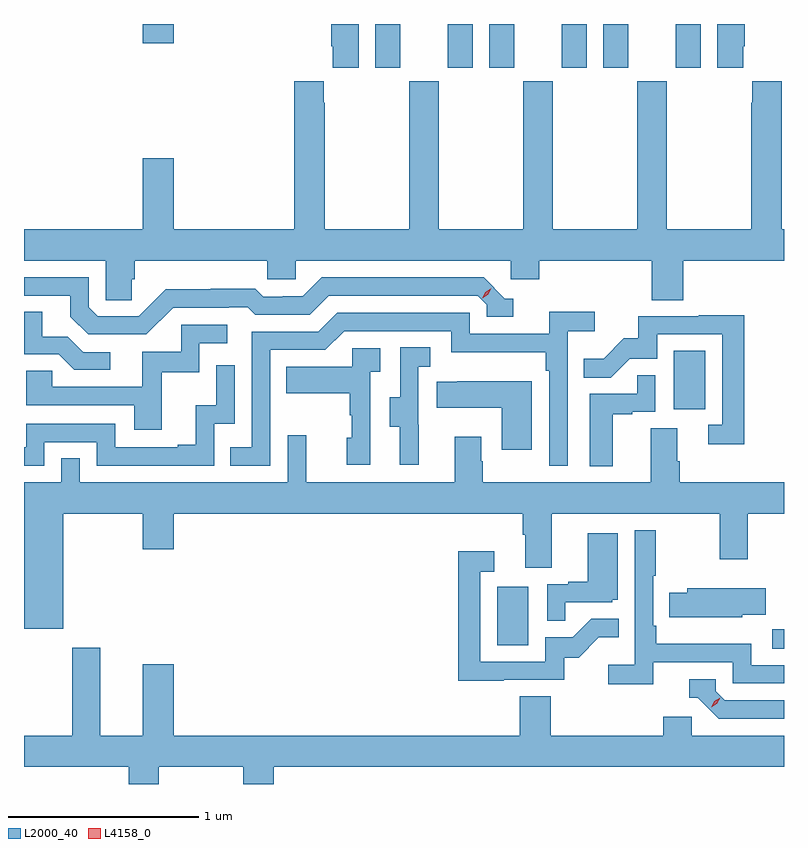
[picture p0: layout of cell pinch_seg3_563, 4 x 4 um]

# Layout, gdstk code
import gdstk
lib = gdstk.Library(unit=1e-6, precision=1e-09)
def R(c, l, rs):  # rectangles x0, y0, x1, y1
    for r in rs: c.add(gdstk.rectangle(r[:2], r[2:], *l))
def P(c, l, *ps):  # polygons
    for p in ps: c.add(gdstk.Polygon(p, *l))
L2000_40 = (2000, 40)
L4158_0 = (4158, 0)

pinch_seg3_563 = lib.new_cell('pinch_seg3_563')
R(pinch_seg3_563, L2000_40, [(1103.385,685.552,1103.447,685.655), (1101.938,685.572,1102.102,685.879), (1102.868,686.814,1103.032,687.121), (1101.296,688.611,1101.427,688.841), (1101.677,688.611,1101.808,688.841), (1101.896,688.611,1102.027,688.841), (1102.277,688.611,1102.408,688.841), (1102.496,688.611,1102.627,688.841), (1102.877,688.611,1103.008,688.841), (1100.072,688.74,1100.236,688.841)])
P(pinch_seg3_563, L2000_40, [(1103.233,688.723),(1103.24,688.723),(1103.24,688.841),(1103.096,688.841),(1103.096,688.611),(1103.233,688.611)],
  [(1101.208,688.841),(1101.065,688.841),(1101.065,688.723),(1101.071,688.723),(1101.071,688.611),(1101.208,688.611)],
  [(1100.015,687.498),(1100.03,687.498),(1100.03,687.596),(1100.727,687.596),(1100.727,687.498),(1100.877,687.498),(1100.877,687.596),(1102.008,687.596),(1102.008,687.498),(1102.16,687.498),(1102.16,687.596),(1102.751,687.596),(1102.751,687.388),(1102.916,687.388),(1102.916,687.596),(1103.447,687.596),(1103.447,687.76),(1103.435,687.76),(1103.435,688.54),(1103.279,688.54),(1103.279,688.427),(1103.275,688.427),(1103.275,687.76),(1102.83,687.76),(1102.83,688.54),(1102.675,688.54),(1102.675,687.76),(1102.23,687.76),(1102.23,688.54),(1102.075,688.54),(1102.075,687.76),(1101.63,687.76),(1101.63,688.54),(1101.475,688.54),(1101.475,687.76),(1101.03,687.76),(1101.03,688.427),(1101.025,688.427),(1101.025,688.54),(1100.87,688.54),(1100.87,687.76),(1100.236,687.76),(1100.236,688.135),(1100.072,688.135),(1100.072,687.76),(1099.447,687.76),(1099.447,687.596),(1099.878,687.596),(1099.878,687.388),(1100.015,687.388)],
  [(1100.232,687.348),(1100.525,687.348),(1100.525,687.351),(1100.624,687.351),(1100.663,687.312),(1100.952,687.312),(1101.051,687.411),(1101.834,687.411),(1101.882,687.363),(1101.882,687.3),(1102.021,687.3),(1102.021,687.396),(1101.978,687.396),(1101.867,687.507),(1101.014,687.507),(1100.915,687.408),(1100.808,687.408),(1100.808,687.405),(1100.705,687.405),(1100.663,687.448),(1100.43,687.448),(1100.43,687.445),(1100.194,687.445),(1100.052,687.303),(1099.836,687.303),(1099.788,687.351),(1099.788,687.507),(1099.447,687.507),(1099.447,687.411),(1099.691,687.411),(1099.691,687.301),(1099.785,687.207),(1100.091,687.207)],
  [(1100.742,687.126),(1101.033,687.126),(1101.132,687.225),(1101.696,687.225),(1101.696,687.113),(1102.192,687.113),(1102.192,687.017),(1102.212,687.017),(1102.212,686.517),(1102.308,686.517),(1102.308,687.224),(1102.45,687.224),(1102.45,687.326),(1102.211,687.326),(1102.211,687.21),(1101.792,687.21),(1101.792,687.321),(1101.095,687.321),(1100.996,687.222),(1100.646,687.222),(1100.646,686.613),(1100.533,686.613),(1100.533,686.517),(1100.742,686.517)],
  [(1099.9,687.114),(1099.758,687.114),(1099.678,687.194),(1099.543,687.194),(1099.543,687.326),(1099.447,687.326),(1099.447,687.102),(1099.631,687.102),(1099.712,687.021),(1099.9,687.021)],
  [(1103.237,687.308),(1102.999,687.308),(1102.999,687.303),(1102.681,687.303),(1102.681,687.186),(1102.604,687.186),(1102.497,687.079),(1102.393,687.079),(1102.393,686.98),(1102.536,686.98),(1102.634,687.078),(1102.779,687.078),(1102.779,687.207),(1103.121,687.207),(1103.121,686.733),(1103.049,686.733),(1103.049,686.628),(1103.237,686.628)],
  [(1100.171,687.009),(1100.37,687.009),(1100.37,687.162),(1100.518,687.162),(1100.518,687.258),(1100.274,687.258),(1100.274,687.117),(1100.069,687.117),(1100.069,686.931),(1099.595,686.931),(1099.595,687.015),(1099.458,687.015),(1099.458,686.835),(1100.027,686.835),(1100.027,686.706),(1100.171,686.706)],
  [(1101.524,686.733),(1101.522,686.733),(1101.522,687.037),(1101.586,687.037),(1101.586,687.14),(1101.426,687.14),(1101.426,686.877),(1101.371,686.877),(1101.371,686.722),(1101.425,686.722),(1101.425,686.52),(1101.524,686.52)],
  [(1101.27,687.011),(1101.322,687.011),(1101.322,687.135),(1101.174,687.135),(1101.174,687.037),(1100.827,687.037),(1100.827,686.897),(1101.162,686.897),(1101.162,686.783),(1101.172,686.783),(1101.172,686.664),(1101.146,686.664),(1101.146,686.52),(1101.27,686.52)],
  [(1099.554,686.64),(1099.83,686.64),(1099.83,686.517),(1100.448,686.517),(1100.448,686.736),(1100.556,686.736),(1100.556,687.046),(1100.46,687.046),(1100.46,686.834),(1100.351,686.834),(1100.351,686.626),(1100.255,686.626),(1100.255,686.613),(1099.926,686.613),(1099.926,686.736),(1099.458,686.736),(1099.458,686.613),(1099.447,686.613),(1099.447,686.517),(1099.554,686.517)],
  [(1102.546,686.787),(1102.649,686.787),(1102.649,686.799),(1102.77,686.799),(1102.77,686.993),(1102.675,686.993),(1102.675,686.895),(1102.424,686.895),(1102.424,686.513),(1102.546,686.513)],
  [(1102.12,686.962),(1101.727,686.962),(1101.727,686.959),(1101.619,686.959),(1101.619,686.822),(1101.962,686.822),(1101.962,686.601),(1102.12,686.601)],
  [(1099.654,686.264),(1100.072,686.264),(1100.072,686.076),(1100.236,686.076),(1100.236,686.264),(1102.073,686.264),(1102.073,686.152),(1102.085,686.152),(1102.085,685.978),(1102.225,685.978),(1102.225,686.264),(1103.11,686.264),(1103.11,686.025),(1103.257,686.025),(1103.257,686.264),(1103.447,686.264),(1103.447,686.428),(1102.898,686.428),(1102.898,686.54),(1102.885,686.54),(1102.885,686.714),(1102.745,686.714),(1102.745,686.428),(1101.861,686.428),(1101.861,686.54),(1101.853,686.54),(1101.853,686.668),(1101.713,686.668),(1101.713,686.428),(1100.933,686.428),(1100.933,686.677),(1100.835,686.677),(1100.835,686.428),(1099.74,686.428),(1099.74,686.555),(1099.644,686.555),(1099.644,686.428),(1099.447,686.428),(1099.447,685.658),(1099.654,685.658)],
  [(1102.76,685.482),(1103.178,685.482),(1103.178,685.371),(1103.447,685.371),(1103.447,685.467),(1103.274,685.467),(1103.274,685.579),(1102.775,685.579),(1102.775,685.675),(1102.758,685.675),(1102.758,685.936),(1102.771,685.936),(1102.771,686.176),(1102.662,686.176),(1102.662,685.468),(1102.521,685.468),(1102.521,685.366),(1102.76,685.366)],
  [(1102.295,685.797),(1102.542,685.797),(1102.542,685.812),(1102.573,685.812),(1102.573,686.161),(1102.415,686.161),(1102.415,685.906),(1102.311,685.906),(1102.311,685.893),(1102.2,685.893),(1102.2,685.699),(1102.295,685.699)],
  [(1101.971,685.389),(1102.29,685.389),(1102.29,685.506),(1102.366,685.506),(1102.473,685.613),(1102.577,685.613),(1102.577,685.712),(1102.433,685.712),(1102.335,685.614),(1102.191,685.614),(1102.191,685.485),(1101.849,685.485),(1101.849,685.959),(1101.922,685.959),(1101.922,686.065),(1101.733,686.065),(1101.733,685.384),(1101.971,685.384)],
  [(1103.226,685.733),(1103.351,685.733),(1103.351,685.87),(1102.937,685.87),(1102.937,685.848),(1102.843,685.848),(1102.843,685.719),(1102.954,685.719),(1102.954,685.718),(1103.226,685.718)],
  [(1099.702,685.558),(1099.702,685.096),(1099.447,685.096),(1099.447,684.932),(1099.997,684.932),(1099.997,684.841),(1100.157,684.841),(1100.157,684.932),(1100.602,684.932),(1100.602,684.841),(1100.762,684.841),(1100.762,684.932),(1103.447,684.932),(1103.447,685.096),(1102.962,685.096),(1102.962,685.194),(1102.811,685.194),(1102.811,685.096),(1102.22,685.096),(1102.22,685.304),(1102.055,685.304),(1102.055,685.096),(1100.236,685.096),(1100.236,685.471),(1100.072,685.471),(1100.072,685.096),(1099.849,685.096),(1099.849,685.558)],
  [(1103.447,685.281),(1103.136,685.281),(1103.088,685.329),(1103.088,685.392),(1102.949,685.392),(1102.949,685.296),(1102.992,685.296),(1103.103,685.185),(1103.447,685.185)])
P(pinch_seg3_563, L4158_0, [(1101.858,687.397),(1101.858,687.397),(1101.874,687.43),(1101.905,687.449),(1101.905,687.449),(1101.905,687.449),(1101.889,687.416),(1101.858,687.397)],
  [(1103.063,685.244),(1103.063,685.245),(1103.08,685.277),(1103.111,685.296),(1103.111,685.296),(1103.111,685.296),(1103.094,685.264),(1103.063,685.244)])

lib.write_gds('pinch_seg3_563.gds')
